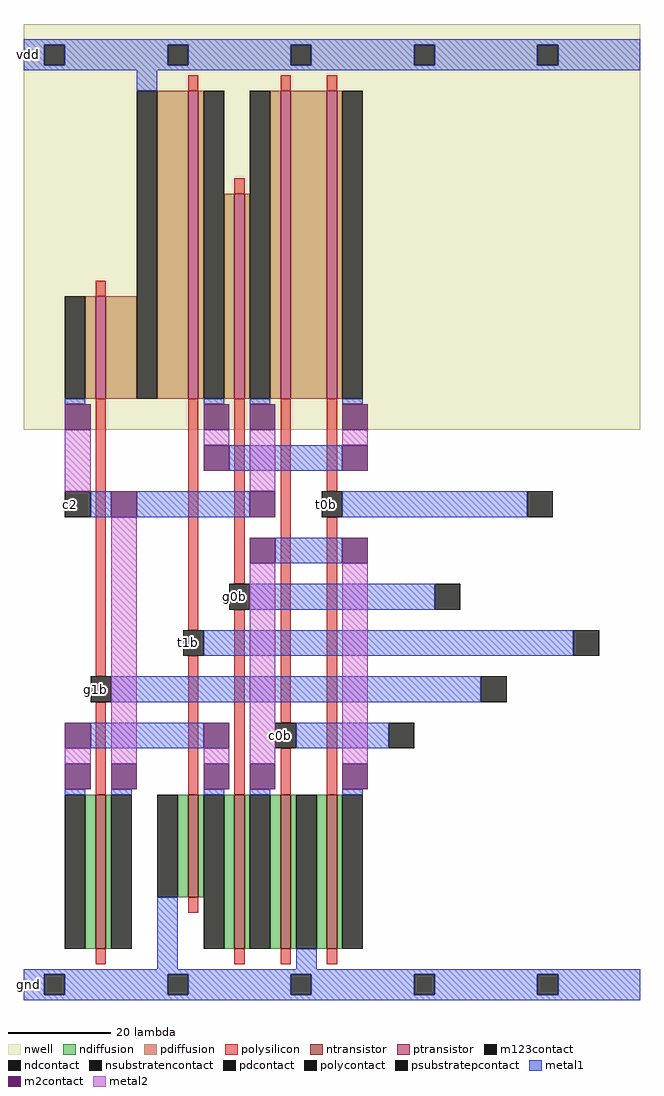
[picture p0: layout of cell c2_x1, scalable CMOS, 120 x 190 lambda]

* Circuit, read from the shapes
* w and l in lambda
.subckt c2_x1 c0b c2 g0b g1b t0b t1b vdd gnd
M1 c2 g1b n1 gnd nfet w=30 l=2
M2 n1 t1b gnd gnd nfet w=20 l=2
M3 n2 g0b n1 gnd nfet w=30 l=2
M4 gnd c0b n2 gnd nfet w=30 l=2
M5 n2 t0b gnd gnd nfet w=30 l=2
M6 vdd g1b c2 vdd pfet w=20 l=2
M7 n3 t1b vdd vdd pfet w=60 l=2
M8 c2 g0b n3 vdd pfet w=40 l=2
M9 n4 c0b c2 vdd pfet w=60 l=2
M10 n3 t0b n4 vdd pfet w=60 l=2
.ends

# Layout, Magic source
magic
tech scmos
<< nwell >>
rect 0 111 120 190
<< ntransistor >>
rect 14 10 16 40
rect 32 20 34 40
rect 41 10 43 40
rect 50 10 52 40
rect 59 10 61 40
<< ptransistor >>
rect 14 117 16 137
rect 32 117 34 177
rect 41 117 43 157
rect 50 117 52 177
rect 59 117 61 177
<< ndiffusion >>
rect 12 10 14 40
rect 16 10 17 40
rect 30 20 32 40
rect 34 20 35 40
rect 39 10 41 40
rect 43 10 44 40
rect 48 10 50 40
rect 52 10 53 40
rect 57 10 59 40
rect 61 10 62 40
<< pdiffusion >>
rect 12 117 14 137
rect 16 117 22 137
rect 26 117 32 177
rect 34 117 35 177
rect 39 117 41 157
rect 43 117 44 157
rect 48 117 50 177
rect 52 117 59 177
rect 61 117 62 177
<< ndcontact >>
rect 8 10 12 40
rect 17 10 21 40
rect 26 20 30 40
rect 35 10 39 40
rect 44 10 48 40
rect 53 10 57 40
rect 62 10 66 40
<< pdcontact >>
rect 8 117 12 137
rect 22 117 26 177
rect 35 117 39 177
rect 44 117 48 177
rect 62 117 66 177
<< psubstratepcontact >>
rect 4 1 8 5
rect 28 1 32 5
rect 52 1 56 5
rect 76 1 80 5
rect 100 1 104 5
<< nsubstratencontact >>
rect 4 182 8 186
rect 28 182 32 186
rect 52 182 56 186
rect 76 182 80 186
rect 100 182 104 186
<< polysilicon >>
rect 32 177 34 180
rect 50 177 52 180
rect 59 177 61 180
rect 14 137 16 140
rect 41 157 43 160
rect 14 63 16 117
rect 32 72 34 117
rect 41 81 43 117
rect 14 40 16 58
rect 32 40 34 67
rect 41 40 43 76
rect 50 54 52 117
rect 59 99 61 117
rect 50 40 52 49
rect 59 40 61 94
rect 32 17 34 20
rect 14 7 16 10
rect 41 7 43 10
rect 50 7 52 10
rect 59 7 61 10
<< polycontact >>
rect 40 76 44 81
rect 31 67 35 72
rect 13 58 17 63
rect 58 94 62 99
rect 49 49 53 54
<< metal1 >>
rect 0 186 120 187
rect 0 182 4 186
rect 8 182 28 186
rect 32 182 52 186
rect 56 182 76 186
rect 80 182 100 186
rect 104 182 120 186
rect 0 181 120 182
rect 22 177 26 181
rect 8 116 12 117
rect 35 116 39 117
rect 44 116 48 117
rect 62 116 66 117
rect 40 103 62 108
rect 13 94 17 99
rect 22 94 44 99
rect 62 94 98 99
rect 49 85 62 90
rect 44 76 80 81
rect 35 67 107 72
rect 17 58 89 63
rect 13 49 35 54
rect 53 49 71 54
rect 8 40 12 41
rect 17 40 21 41
rect 35 40 39 41
rect 26 6 30 20
rect 44 40 48 41
rect 62 40 66 41
rect 53 6 57 10
rect 0 5 120 6
rect 0 1 4 5
rect 8 1 28 5
rect 32 1 52 5
rect 56 1 76 5
rect 80 1 100 5
rect 104 1 120 5
rect 0 0 120 1
<< m2contact >>
rect 8 111 13 116
rect 35 111 40 116
rect 44 111 49 116
rect 62 111 67 116
rect 35 103 40 108
rect 62 103 67 108
rect 17 94 22 99
rect 44 94 49 99
rect 44 85 49 90
rect 62 85 67 90
rect 8 49 13 54
rect 35 49 40 54
rect 8 41 13 46
rect 17 41 22 46
rect 35 41 40 46
rect 44 41 49 46
rect 62 41 67 46
<< metal2 >>
rect 8 99 13 111
rect 35 108 40 111
rect 44 99 49 111
rect 62 108 67 111
rect 8 46 13 49
rect 17 46 22 94
rect 35 46 40 49
rect 44 46 49 85
rect 62 46 67 85
<< m123contact >>
rect 8 94 13 99
rect 98 94 103 99
rect 80 76 85 81
rect 107 67 112 72
rect 89 58 94 63
rect 71 49 76 54
<< labels >>
rlabel metal1 49 49 51 54 0 c0b
port 1 nsew
rlabel metal1 8 94 10 99 0 c2
port 2 nsew
rlabel metal1 40 76 42 81 0 g0b
port 3 nsew
rlabel metal1 13 58 15 63 0 g1b
port 4 nsew
rlabel metal1 58 94 60 99 0 t0b
port 5 nsew
rlabel metal1 31 67 33 72 0 t1b
port 6 nsew
rlabel metal1 0 181 2 187 0 vdd
port 7 nsew
rlabel metal1 0 0 2 6 0 gnd
port 8 nsew
<< end >>
